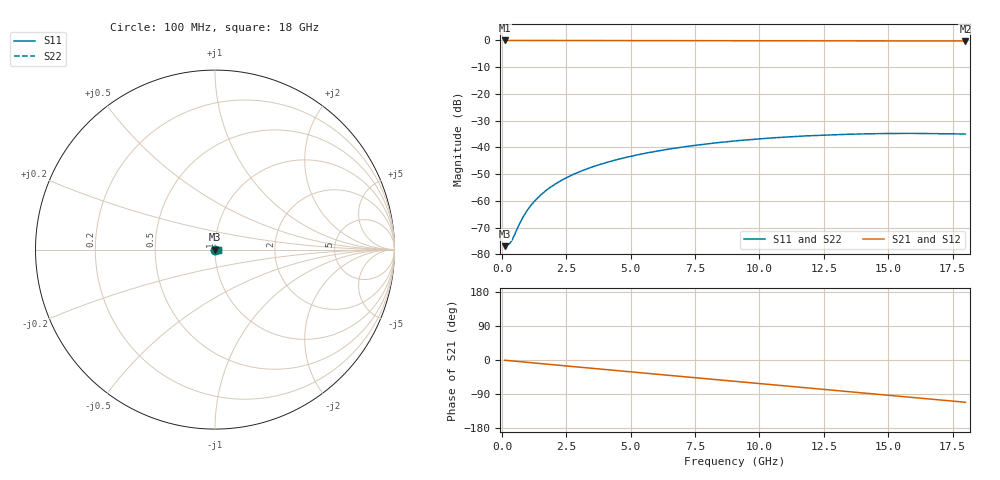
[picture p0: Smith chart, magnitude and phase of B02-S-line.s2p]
! yapnr rf coupon B: B02 S L2.5 (line, family S)
! stackup JLC06161H-2116C, nominal parameters; reference planes 10 mm from each end; 50 ohm (renormalized from the line's Zc)
! model: 2D quasi-static RLGC (Djordjevic-Sarkar, Huray roughness, Wheeler loss); generated by python -m yapnr.rf.coupons expected
# GHz S DB R 50
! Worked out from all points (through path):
!   180 points, 100 MHz to 18 GHz, reference 50 ohm
!   highest |S21| = 0.00 dB at 100 MHz (marker M1); lowest = -0.2 dB at 18 GHz (marker M2)
!   group delay of S21, straight-line fit = 17.2 ps
!   lowest |S11| = -77.0 dB at 100 MHz (marker M3), VSWR 1.00, Z = 50 + j0.00492 ohm
!   |S11| at or under -10 dB: start of sweep to end of sweep
!   |S22| runs from -77.0 to -34.8 dB; largest |S21 - S12| = 0
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0.1  -76.98 20.4  -0.00 -0.7  -0.00 -0.7  -76.98 20.4
0.3  -75.98 48.2  -0.01 -1.9  -0.01 -1.9  -75.98 48.2
0.4  -74.53 65.9  -0.01 -2.5  -0.01 -2.5  -74.53 65.9
0.7  -68.21 94.1  -0.01 -4.4  -0.01 -4.4  -68.21 94.1
0.9  -64.75 99.9  -0.01 -5.7  -0.01 -5.7  -64.75 99.9
1.1  -62.00 102.1  -0.02 -7.0  -0.02 -7.0  -62.00 102.1
1.4  -58.76 102.8  -0.02 -8.8  -0.02 -8.8  -58.76 102.8
1.7  -56.22 102.0  -0.02 -10.7  -0.02 -10.7  -56.22 102.0
2.1  -53.53 100.1  -0.03 -13.2  -0.03 -13.2  -53.53 100.1
2.6  -50.90 97.1  -0.03 -16.3  -0.03 -16.3  -50.90 97.1
3.1  -48.79 93.9  -0.04 -19.4  -0.04 -19.4  -48.79 93.9
3.7  -46.72 90.0  -0.05 -23.2  -0.05 -23.2  -46.72 90.0
4.4  -44.76 85.3  -0.06 -27.5  -0.06 -27.5  -44.76 85.3
6.1  -41.27 74.0  -0.07 -38.1  -0.07 -38.1  -41.27 74.0
7.5  -39.25 64.8  -0.09 -46.8  -0.09 -46.8  -39.25 64.8
9.1  -37.55 54.5  -0.11 -56.7  -0.11 -56.7  -37.55 54.5
10.6  -36.40 44.9  -0.12 -65.9  -0.12 -65.9  -36.40 44.9
12.1  -35.59 35.4  -0.14 -75.2  -0.14 -75.2  -35.59 35.4
13.6  -35.06 26.0  -0.16 -84.4  -0.16 -84.4  -35.06 26.0
15.1  -34.81 16.6  -0.17 -93.7  -0.17 -93.7  -34.81 16.6
16.5  -34.80 7.9  -0.19 -102.3  -0.19 -102.3  -34.80 7.9
18  -35.04 -1.3  -0.20 -111.5  -0.20 -111.5  -35.04 -1.3
